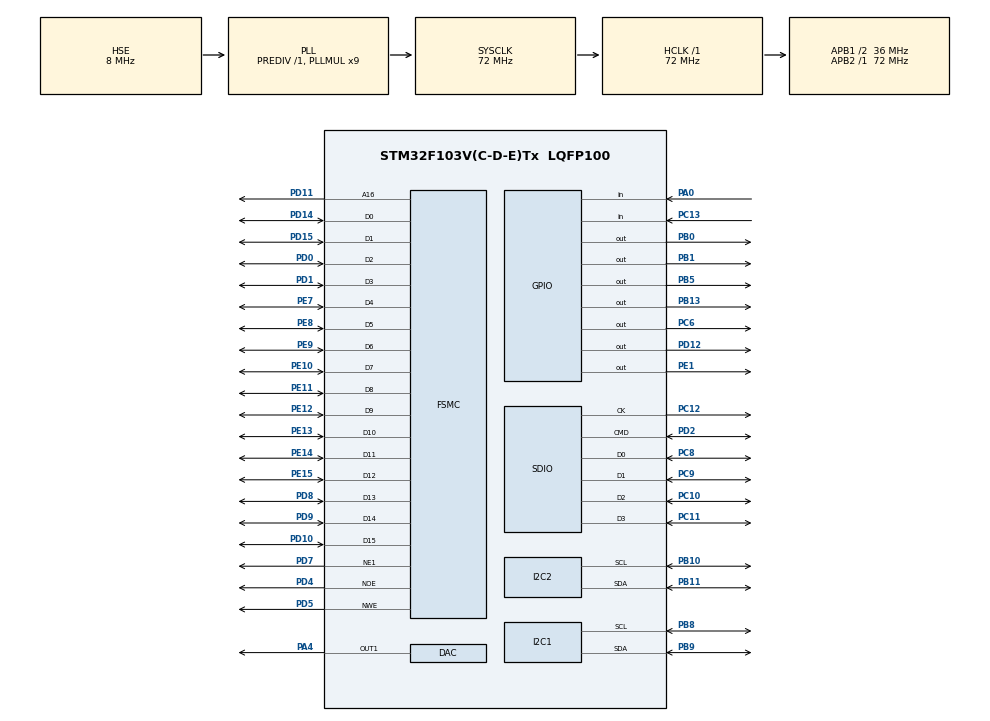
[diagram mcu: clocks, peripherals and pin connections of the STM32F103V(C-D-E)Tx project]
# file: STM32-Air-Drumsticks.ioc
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DAC.DAC_Trigger=DAC_TRIGGER_T6_TRGO
Dma.DAC_CH1.0.Direction=DMA_MEMORY_TO_PERIPH
Dma.DAC_CH1.0.Instance=DMA2_Channel3
Dma.DAC_CH1.0.MemDataAlignment=DMA_MDATAALIGN_HALFWORD
Dma.DAC_CH1.0.MemInc=DMA_MINC_ENABLE
Dma.DAC_CH1.0.Mode=DMA_CIRCULAR
Dma.DAC_CH1.0.PeriphDataAlignment=DMA_PDATAALIGN_HALFWORD
Dma.DAC_CH1.0.PeriphInc=DMA_PINC_DISABLE
Dma.DAC_CH1.0.Priority=DMA_PRIORITY_HIGH
Dma.Request0=DAC_CH1
FATFS._FS_LOCK=10
Mcu.Family=STM32F1
Mcu.Name=STM32F103V(C-D-E)Tx
Mcu.Package=LQFP100
NVIC.DMA2_Channel3_IRQn=true\:0\:0\:false\:false\:true\:false\:true\:true
NVIC.PriorityGroup=NVIC_PRIORITYGROUP_4
NVIC.SDIO_IRQn=true\:0\:0\:false\:false\:true\:true\:true\:true
OSC_IN.Mode=HSE-External-Oscillator
OSC_IN.Signal=RCC_OSC_IN
OSC_OUT.Mode=HSE-External-Oscillator
OSC_OUT.Signal=RCC_OSC_OUT
PA0-WKUP.Signal=GPIO_Input
PA13.Mode=Serial_Wire
PA13.Signal=SYS_JTMS-SWDIO
PA14.Mode=Serial_Wire
PA14.Signal=SYS_JTCK-SWCLK
PA4.Signal=COMP_DAC1_group
PB0.GPIO_Speed=GPIO_SPEED_FREQ_HIGH
PB0.Signal=GPIO_Output
PB1.GPIO_Speed=GPIO_SPEED_FREQ_HIGH
PB1.PinState=GPIO_PIN_SET
PB1.Signal=GPIO_Output
PB10.Mode=I2C
PB10.Signal=I2C2_SCL
PB11.Mode=I2C
PB11.Signal=I2C2_SDA
PB13.GPIO_Speed=GPIO_SPEED_FREQ_HIGH
PB13.PinState=GPIO_PIN_SET
PB13.Signal=GPIO_Output
PB5.GPIO_Speed=GPIO_SPEED_FREQ_HIGH
PB5.Signal=GPIO_Output
PB8.Mode=I2C
PB8.Signal=I2C1_SCL
PB9.Mode=I2C
PB9.Signal=I2C1_SDA
PC10.Mode=SD_4_bits_Wide_bus
PC10.Signal=SDIO_D2
PC11.Mode=SD_4_bits_Wide_bus
PC11.Signal=SDIO_D3
PC12.Mode=SD_4_bits_Wide_bus
PC12.Signal=SDIO_CK
PC13-TAMPER-RTC.Signal=GPIO_Input
PC14-OSC32_IN.Mode=LSE-External-Oscillator
PC14-OSC32_IN.Signal=RCC_OSC32_IN
PC15-OSC32_OUT.Mode=LSE-External-Oscillator
PC15-OSC32_OUT.Signal=RCC_OSC32_OUT
PC6.GPIO_Speed=GPIO_SPEED_FREQ_HIGH
PC6.PinState=GPIO_PIN_SET
PC6.Signal=GPIO_Output
PC8.Mode=SD_4_bits_Wide_bus
PC8.Signal=SDIO_D0
PC9.Mode=SD_4_bits_Wide_bus
PC9.Signal=SDIO_D1
PD0.Mode=16b-d1
PD0.Signal=FSMC_D2
PD1.Mode=16b-d1
PD1.Signal=FSMC_D3
PD10.Mode=16b-d1
PD10.Signal=FSMC_D15
PD11.Mode=A16_1
PD11.Signal=FSMC_A16
PD12.GPIO_Speed=GPIO_SPEED_FREQ_HIGH
PD12.PinState=GPIO_PIN_RESET
PD12.Signal=GPIO_Output
PD14.Mode=16b-d1
PD14.Signal=FSMC_D0
PD15.Mode=16b-d1
PD15.Signal=FSMC_D1
PD2.Mode=SD_4_bits_Wide_bus
PD2.Signal=SDIO_CMD
PD4.Mode=Lcd1
PD4.Signal=FSMC_NOE
PD5.Mode=Lcd1
PD5.Signal=FSMC_NWE
PD7.Mode=NorPsramChipSelect1_1
PD7.Signal=FSMC_NE1
PD8.Mode=16b-d1
PD8.Signal=FSMC_D13
PD9.Mode=16b-d1
PD9.Signal=FSMC_D14
PE1.GPIO_Speed=GPIO_SPEED_FREQ_HIGH
PE1.PinState=GPIO_PIN_RESET
PE1.Signal=GPIO_Output
PE10.Mode=16b-d1
PE10.Signal=FSMC_D7
PE11.Mode=16b-d1
PE11.Signal=FSMC_D8
PE12.Mode=16b-d1
PE12.Signal=FSMC_D9
PE13.Mode=16b-d1
PE13.Signal=FSMC_D10
PE14.Mode=16b-d1
PE14.Signal=FSMC_D11
PE15.Mode=16b-d1
PE15.Signal=FSMC_D12
PE7.Mode=16b-d1
PE7.Signal=FSMC_D4
PE8.Mode=16b-d1
PE8.Signal=FSMC_D5
PE9.Mode=16b-d1
PE9.Signal=FSMC_D6
ProjectManager.HeapSize=0x200
ProjectManager.StackSize=0x400
ProjectManager.TargetToolchain=STM32CubeIDE
RCC.AHBFreq_Value=72000000
RCC.APB1CLKDivider=RCC_HCLK_DIV2
RCC.APB1Freq_Value=36000000
RCC.APB1TimFreq_Value=72000000
RCC.APB2Freq_Value=72000000
RCC.APB2TimFreq_Value=72000000
RCC.HCLKFreq_Value=72000000
RCC.PLLMUL=RCC_PLL_MUL9
RCC.PLLSourceVirtual=RCC_PLLSOURCE_HSE
RCC.SYSCLKFreq_VALUE=72000000
RCC.SYSCLKSource=RCC_SYSCLKSOURCE_PLLCLK
RCC.USBFreq_Value=72000000
SDIO.ClockDiv=20
SH.COMP_DAC1_group.0=DAC_OUT1,DAC_OUT1
TIM6.Period=1632
TIM6.TIM_MasterOutputTrigger=TIM_TRGO_UPDATE
VP_FATFS_VS_SDIO.Mode=SDIO
VP_TIM6_VS_ClockSourceINT.Mode=Enable_Timer
board=custom

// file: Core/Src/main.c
/* USER CODE BEGIN Header */
/**
  ******************************************************************************
  * @file           : main.c
  * @brief          : Main program body
  ******************************************************************************
  * @attention
  *
  * Copyright (c) 2026 STMicroelectronics.
  * All rights reserved.
  *
  * This software is licensed under terms that can be found in the LICENSE file
  * in the root directory of this software component.
  * If no LICENSE file comes with this software, it is provided AS-IS.
  *
  ******************************************************************************
  */
/* USER CODE END Header */
#include "main.h"
#include "fatfs.h"

/* USER CODE BEGIN Includes */
#include "lcd.h"
#include "stdio.h"
#include <stdbool.h>
/* USER CODE END Includes */

/* USER CODE BEGIN PD */
#define AUDIO_BUF_SIZE 4096  // Total size (Ping + Pong)
#define HALF_BUF_SIZE (AUDIO_BUF_SIZE / 2)

#define COOLDOWN_MS 200
/* USER CODE END PD */

 DAC_HandleTypeDef hdac;
DMA_HandleTypeDef hdma_dac_ch1;

I2C_HandleTypeDef hi2c1;
I2C_HandleTypeDef hi2c2;

SD_HandleTypeDef hsd;

TIM_HandleTypeDef htim6;

SRAM_HandleTypeDef hsram1;

/* USER CODE BEGIN PV */

#define MAX_DRUM_CHANNELS 3 // Tom, Snare, Overhead
#define SONG_CHANNEL      3 // Channel index 3 is reserved for the song
#define TOTAL_CHANNELS    4

typedef struct {
    FIL *fileHandle;
    uint8_t active;
    uint8_t tempBuf[4096];
    uint8_t rewind;
} AudioChannel;

AudioChannel channels[TOTAL_CHANNELS];

// Persistent handles for drums
FIL wavTom, wavSnare, wavOverhead;
FIL wavTanggu, wavBangu, wavXiaoluo;
FIL wavEHit, wavESnare, wavEHigh;
// Dynamic handle for the song
FIL wavSong;

uint16_t audioBuffer[AUDIO_BUF_SIZE];
volatile uint8_t transferStatus = 0;

int PA0_previous = 0, PC13_previous = 0;
int PA0_current, PC13_current;
const char* songList[] = {"Mayoiuta", "Midnight", "Haruhikage", "The Young Ones", "Golden","YOM"};
const char* drumList[] = {"Acoustic Kit", "Chinese Kit", "Electronic"};

#define SONG_COUNT (sizeof(songList) / sizeof(songList[0]))
#define DRUM_COUNT (sizeof(drumList) / sizeof(drumList[0]))
#define HOME_COUNT 2

// Page States
typedef enum { PAGE_HOME, PAGE_SONG, PAGE_DRUM } MenuPage;
MenuPage currentPage = PAGE_HOME;

// Independent Indices
uint8_t homeIdx = 0;
uint8_t songIdx = 0;
uint8_t drumIdx = 0;

// Current Selections (Indices)
int activeSongIdx = -1; // -1 means none
int activeDrumIdx = 0;  // Default to first drum

uint8_t updateDisplay = 1;
uint32_t lastButtonTime = 0;

uint32_t last_hit_time = 0;
/* USER CODE END PV */

void SystemClock_Config(void);
static void MX_GPIO_Init(void);
static void MX_FSMC_Init(void);
static void MX_DMA_Init(void);
static void MX_I2C2_Init(void);
static void MX_DAC_Init(void);
static void MX_SDIO_SD_Init(void);
static void MX_TIM6_Init(void);
static void MX_I2C1_Init(void);
/* USER CODE BEGIN PFP */

void PlayDrum(FIL *wavFile, int channelIdx) {
    // Reset file pointer to skip WAV header (44 bytes)
    //f_lseek(wavFile, 44);

    channels[channelIdx].fileHandle = wavFile;
    channels[channelIdx].active = 1;
    channels[channelIdx].rewind = 1;

    // Start DAC if it's not already running
    if (HAL_DAC_GetState(&hdac) != HAL_DAC_STATE_BUSY) {
        HAL_TIM_Base_Start(&htim6);
        HAL_DAC_Start_DMA(&hdac, DAC_CHANNEL_1, (uint32_t*)audioBuffer, AUDIO_BUF_SIZE, DAC_ALIGN_12B_R);
    }
}

void PlaySong(char *filename) {
    // 1. Close the previous song if it was playing
    if (channels[SONG_CHANNEL].active) {
        channels[SONG_CHANNEL].active = 0;
        f_close(&wavSong);
    }

    // 2. Open the new song file
    else if (f_open(&wavSong, filename, FA_READ) == FR_OK) {
        f_lseek(&wavSong, 44); // Skip header
        channels[SONG_CHANNEL].fileHandle = &wavSong;
        channels[SONG_CHANNEL].active = 1;

        // Ensure DAC is running
        if (HAL_DAC_GetState(&hdac) != HAL_DAC_STATE_BUSY) {
            HAL_TIM_Base_Start(&htim6);
            HAL_DAC_Start_DMA(&hdac, DAC_CHANNEL_1, (uint32_t*)audioBuffer, AUDIO_BUF_SIZE, DAC_ALIGN_12B_R);
        }
    }
}
/* --- DMA Callback Functions --- */

void HAL_DAC_ConvHalfCpltCallbackCh1(DAC_HandleTypeDef* hdac) {
    // We are now playing the second half; refill the FIRST half
    FillAudioBuffer(0);
}

void HAL_DAC_ConvCpltCallbackCh1(DAC_HandleTypeDef* hdac) {
    // We are now playing the first half; refill the SECOND half
    FillAudioBuffer(HALF_BUF_SIZE);
    //HAL_GPIO_TogglePin(GPIOB, GPIO_PIN_1); // Visual heartbeat
}
void FillAudioBuffer(uint32_t offset) {
    int32_t mixedSamples[HALF_BUF_SIZE] = {0};
    uint8_t anyChannelActive = 0;

    for (int ch = 0; ch < TOTAL_CHANNELS; ch++) {
        if (channels[ch].active) {
            anyChannelActive = 1;
            UINT br;

            if (channels[ch].rewind) {
                f_lseek(channels[ch].fileHandle, 44);
                channels[ch].rewind = 0;
            }

            // Read directly into the temporary buffer
            if (f_read(channels[ch].fileHandle, channels[ch].tempBuf, HALF_BUF_SIZE * 2, &br) != FR_OK || br == 0) {
                channels[ch].active = 0;
                // DO NOT close files inside an interrupt.
                // Set a flag and close them in the main loop if needed.
            } else {
                int16_t *pSamples = (int16_t*)channels[ch].tempBuf;
                for (int i = 0; i < HALF_BUF_SIZE; i++) {
                    mixedSamples[i] += pSamples[i];
                }
            }
        }
    }

    for (int i = 0; i < HALF_BUF_SIZE; i++) {
        // Clipping
        if (mixedSamples[i] > 32767) mixedSamples[i] = 32767;
        else if (mixedSamples[i] < -32768) mixedSamples[i] = -32768;

        audioBuffer[offset + i] = (uint16_t)((mixedSamples[i] + 32768) >> 4);
    }
}
/* USER CODE END PFP */

/* USER CODE BEGIN 0 */
char str[12];

// The 7-bit address 0x68 shifted left for HAL becomes 0xD0
#define MPU6050_ADDR 0xD0
#define PWR_MGMT_1   0x6B

#define CONFIG       0x1A
#define ACCEL_CONFIG 0x1C

typedef enum { STATE_IDLE, STATE_TRIGGERED, STATE_COOLDOWN } HitState;
HitState currentState = STATE_IDLE;

#define HIT_THRESHOLD_HIGH 12000  // Spike needed to trigger
#define HIT_THRESHOLD_LOW  5000  // Must fall below this to "reset"
#define GYRO_HIT_MIN       1500   // Must be rotating "down" significantly

typedef struct {
    I2C_HandleTypeDef *hi2c;

    uint8_t Rec_Data[14];

    int16_t Accel_X_RAW;
    int16_t Accel_Y_RAW;
    int16_t Accel_Z_RAW;

    int16_t Gyro_X_RAW;
    int16_t Gyro_Y_RAW;
    int16_t Gyro_Z_RAW;

    float gyro_x_offset;
    float filtered_angle;

    uint32_t last_loop_time;
    uint32_t last_hit_time;

    HitState state;
} MPU6050_t;

MPU6050_t mpu1;
MPU6050_t mpu2;

/*void MPU6050_Init(void) {
    uint8_t data;
    // ... your existing "Who Am I" check ...

    // 1. Wake up
    data = 0;
    HAL_I2C_Mem_Write(&hi2c2, MPU6050_ADDR, PWR_MGMT_1, 1, &data, 1, 100);

    // 2. Set Accelerometer Range to +/- 8g (important for high-speed hits)
    // 0x10 sets the FS_SEL bits to 2, which is +/- 8g
    data = 0x10;
    HAL_I2C_Mem_Write(&hi2c2, MPU6050_ADDR, ACCEL_CONFIG, 1, &data, 1, 100);

    // 3. Enable Digital Low Pass Filter (DLPF)
    // Mode 3 (~44Hz bandwidth) is great for air drumming to remove jitter
    data = 0x03;
    HAL_I2C_Mem_Write(&hi2c2, MPU6050_ADDR, CONFIG, 1, &data, 1, 100);
}*/

void MPU6050_Init_Device(MPU6050_t *mpu) {
    uint8_t data;

    // Wake up
    data = 0;
    HAL_I2C_Mem_Write(mpu->hi2c, MPU6050_ADDR, PWR_MGMT_1, 1, &data, 1, 100);

    // Accel ±8g
    data = 0x10;
    HAL_I2C_Mem_Write(mpu->hi2c, MPU6050_ADDR, ACCEL_CONFIG, 1, &data, 1, 100);

    // DLPF
    data = 0x03;
    HAL_I2C_Mem_Write(mpu->hi2c, MPU6050_ADDR, CONFIG, 1, &data, 1, 100);

    mpu->state = STATE_IDLE;
    mpu->filtered_angle = 0;
}

uint8_t Rec_Data[14];
int16_t Accel_X_RAW, Accel_Y_RAW, Accel_Z_RAW;
int16_t Gyro_X_RAW, Gyro_Y_RAW, Gyro_Z_RAW;

/*void MPU6050_Read_Accel(void) {
    HAL_I2C_Mem_Read(&hi2c2, MPU6050_ADDR, 0x3B, 1, Rec_Data, 14, 100);

    // Accelerometer Data
    Accel_X_RAW = (int16_t)(Rec_Data[0] << 8 | Rec_Data[1]);
    Accel_Y_RAW = (int16_t)(Rec_Data[2] << 8 | Rec_Data[3]);
    Accel_Z_RAW = (int16_t)(Rec_Data[4] << 8 | Rec_Data[5]);

    // Gyroscope Data (Starts at index 8 after Temperature bytes at 6-7)
    Gyro_X_RAW  = (int16_t)(Rec_Data[8] << 8 | Rec_Data[9]);
    Gyro_Y_RAW  = (int16_t)(Rec_Data[10] << 8 | Rec_Data[11]);
    Gyro_Z_RAW  = (int16_t)(Rec_Data[12] << 8 | Rec_Data[13]);
}*/

void MPU6050_Read(MPU6050_t *mpu) {
    HAL_I2C_Mem_Read(mpu->hi2c, MPU6050_ADDR, 0x3B, 1, mpu->Rec_Data, 14, 100);

    mpu->Accel_X_RAW = (int16_t)(mpu->Rec_Data[0] << 8 | mpu->Rec_Data[1]);
    mpu->Accel_Y_RAW = (int16_t)(mpu->Rec_Data[2] << 8 | mpu->Rec_Data[3]);
    mpu->Accel_Z_RAW = (int16_t)(mpu->Rec_Data[4] << 8 | mpu->Rec_Data[5]);

    mpu->Gyro_X_RAW  = (int16_t)(mpu->Rec_Data[8] << 8 | mpu->Rec_Data[9]);
    mpu->Gyro_Y_RAW  = (int16_t)(mpu->Rec_Data[10] << 8 | mpu->Rec_Data[11]);
    mpu->Gyro_Z_RAW  = (int16_t)(mpu->Rec_Data[12] << 8 | mpu->Rec_Data[13]);
}

void refresh_LCD() {
	// Labels for Accelerometer
	LCD_DrawString(10, 0,  "Accel X: ", BLACK);
	LCD_DrawString(10, 20, "Accel Y: ", BLACK);
	LCD_DrawString(10, 40, "Accel Z: ", BLACK);

	// Labels for Gyroscope
	LCD_DrawString(10, 70, "Gyro X:  ", BLACK);
	LCD_DrawString(10, 90, "Gyro Y:  ", BLACK);
	LCD_DrawString(10, 110, "Gyro Z:  ", BLACK);

	// Display Accelerometer values
	// Using %-6d ensures the number is left-aligned and padded with spaces up to 6 chars
	sprintf(str, "%-6d", Accel_X_RAW);
	LCD_DrawString(120, 0, str, BLACK);
	sprintf(str, "%-6d", Accel_Y_RAW);
	LCD_DrawString(120, 20, str, BLACK);
	sprintf(str, "%-6d", Accel_Z_RAW);
	LCD_DrawString(120, 40, str, BLACK);

	// Display Gyroscope values
	sprintf(str, "%-6d", Gyro_X_RAW);
	LCD_DrawString(120, 70, str, BLACK);
	sprintf(str, "%-6d", Gyro_Y_RAW);
	LCD_DrawString(120, 90, str, BLACK);
	sprintf(str, "%-6d", Gyro_Z_RAW);
	LCD_DrawString(120, 110, str, BLACK);
}

// Detect hit

float filtered_accel_z = 0;
float alpha = 0.4f; // Smoothing factor (0.1 = very smooth/slow, 0.9 = raw/fast)

float EMA_Filter(int16_t sample, float last_filtered) {
    return (alpha * (float)sample) + ((1.0f - alpha) * last_filtered);
}

/*bool DetectDrumHit_Advanced(int16_t accel_z, int16_t gyro_x) {
    uint32_t current_time = HAL_GetTick();
    bool hit = false;

    // Filter the raw acceleration
//    filtered_accel_z = EMA_Filter(accel_z, filtered_accel_z);
    filtered_accel_z = accel_z;			// Don't use filter, it mixes up the drum hit area (maybe because of low process speed)

    switch (currentState) {
        case STATE_IDLE:
            // Check for acceleration spike AND downward rotation direction
            // We use > 0 for gyro_x assuming positive is the "flick down" rotation
            if (filtered_accel_z > HIT_THRESHOLD_HIGH && gyro_x > GYRO_HIT_MIN) {
                hit = true;
                last_hit_time = current_time;
                currentState = STATE_TRIGGERED;
            }
            break;

        case STATE_TRIGGERED:
            // Once triggered, move to cooldown after a fixed minimum time
            if (current_time - last_hit_time > 40) { // minimum physical hit duration
                currentState = STATE_COOLDOWN;
            }
            break;

        case STATE_COOLDOWN:
            // Wait until the stick "settles" (falls below low threshold)
            // OR the cooldown time expires. This prevents double-triggering.
            if (filtered_accel_z < HIT_THRESHOLD_LOW || (current_time - last_hit_time > COOLDOWN_MS)) {
                currentState = STATE_IDLE;
            }
            break;
    }
    return hit;
}*/

bool DetectHit(MPU6050_t *mpu) {
    uint32_t current_time = HAL_GetTick();
    bool hit = false;

    float accel = mpu->Accel_Z_RAW;
    float gyro  = mpu->Gyro_X_RAW;

    switch (mpu->state) {
        case STATE_IDLE:
            if (accel > HIT_THRESHOLD_HIGH && gyro > GYRO_HIT_MIN) {
                hit = true;
                mpu->last_hit_time = current_time;
                mpu->state = STATE_TRIGGERED;
            }
            break;

        case STATE_TRIGGERED:
            if (current_time - mpu->last_hit_time > 80) {
                mpu->state = STATE_COOLDOWN;
            }
            break;

        case STATE_COOLDOWN:
            if (accel < HIT_THRESHOLD_LOW ||
                (current_time - mpu->last_hit_time > COOLDOWN_MS)) {
                mpu->state = STATE_IDLE;
            }
            break;
    }

    return hit;
}

// Angle Tracking Variables
float filtered_angle = 0.0f;

uint32_t last_loop_time = 0;    // For calculating dt (delta time)

float gyro_x_offset = 0.0f;
float gyro_z_offset = 0.0f;
float strike_angle_1 = 0.0f;
float strike_angle_2 = 0.0f;

/*void Calibrate_Gyro_Offset(void) {
    int32_t x_sum = 0;
    int32_t z_sum = 0;
    LCD_DrawString(10, 140, "Calibrating Gyro...");

    for(int i = 0; i < 10; i++) {
        MPU6050_Read_Accel();
        x_sum += Gyro_X_RAW;
        z_sum += Gyro_Z_RAW;
        HAL_Delay(2); // Good practice to let fresh data arrive
    }

    gyro_x_offset = (float)x_sum / 10.0f;
    gyro_z_offset = (float)z_sum / 10.0f;
    LCD_DrawString(10, 140, "Calibration Done!  ");
}*/

void Calibrate_Gyro(MPU6050_t *mpu) {
    int32_t sum = 0;

    for (int i = 0; i < 10; i++) {
        MPU6050_Read(mpu);
        sum += mpu->Gyro_X_RAW;
        HAL_Delay(2);
    }

    mpu->gyro_x_offset = (float)sum / 10.0f;
    //LCD_DrawString(10, 140, "Calibration Done!  ", BLACK);
}

float right_angle = -35.0f;
float left_angle = 25.0f;

float MPU6050_UpdateAngle(MPU6050_t *mpu, float dt) {

    // 1. Gyro rate (deg/s)
    float gyro_rate = ((float)mpu->Gyro_X_RAW - mpu->gyro_x_offset) / 131.0f;

    // 2. Accelerometer angle (deg)
    float accel_angle = atan2f((float)mpu->Accel_Y_RAW,
                               (float)mpu->Accel_Z_RAW) * 57.2958f;

    // 3. Acc magnitude (for reliability check)
    float accel_mag = sqrtf(
        (float)mpu->Accel_X_RAW * mpu->Accel_X_RAW +
        (float)mpu->Accel_Y_RAW * mpu->Accel_Y_RAW +
        (float)mpu->Accel_Z_RAW * mpu->Accel_Z_RAW
    );

    // 4. Complementary filter
    if (accel_mag > 3000.0f && accel_mag < 5500.0f) {
        mpu->filtered_angle =
            0.95f * (mpu->filtered_angle + gyro_rate * dt)
          + 0.05f * accel_angle;
    } else {
        mpu->filtered_angle += gyro_rate * dt;
    }

    // 5. Clamp angle
    if (mpu->filtered_angle > 90.0f) mpu->filtered_angle = 90.0f;
    if (mpu->filtered_angle < -90.0f) mpu->filtered_angle = -90.0f;

    return mpu->filtered_angle;
}
/* USER CODE END 0 */

int main(void)
{

  /* MCU Configuration--------------------------------------------------------*/

  /* Reset of all peripherals, Initializes the Flash interface and the Systick. */
  HAL_Init();

  /* Configure the system clock */
  SystemClock_Config();

  /* Initialize all configured peripherals */
  MX_GPIO_Init();
  MX_FSMC_Init();
  MX_DMA_Init();
  MX_I2C2_Init();
  MX_DAC_Init();
  MX_SDIO_SD_Init();
  MX_TIM6_Init();
  MX_FATFS_Init();
  MX_I2C1_Init();
  /* USER CODE BEGIN 2 */
  LCD_INIT();

//  MPU6050_Init();
//  MPU6050_Read_Accel();
//
//  HAL_Delay(500);
//
//
//	Calibrate_Gyro_Offset();
  mpu1.hi2c = &hi2c2; // Stick 1
  mpu2.hi2c = &hi2c1; // Stick 2

  MPU6050_Init_Device(&mpu1);
  MPU6050_Init_Device(&mpu2);

  HAL_Delay(500);

  Calibrate_Gyro(&mpu1);
  Calibrate_Gyro(&mpu2);

  mpu1.last_loop_time = HAL_GetTick();
  mpu2.last_loop_time = HAL_GetTick();

	// Initialize our timer
	last_loop_time = HAL_GetTick();

	if (f_mount(&SDFatFS, (TCHAR const*)SDPath, 1) == FR_OK) {
	    // Pre-open drum files so they are ready for instant access
	    f_open(&wavTom, "Tom.wav", FA_READ);
	    f_open(&wavSnare, "Snare.wav", FA_READ);
	    f_open(&wavOverhead, "Overhead.wav", FA_READ);
	    f_open(&wavTanggu, "Tanggu.wav", FA_READ);
	     f_open(&wavBangu, "Bangu.wav", FA_READ);
	     f_open(&wavXiaoluo, "Xiaoluo.wav", FA_READ);
	     f_open(&wavEHit, "EHit.wav", FA_READ);
	     f_open(&wavESnare, "ESnare.wav", FA_READ);
	     f_open(&wavEHigh, "EHigh.wav", FA_READ);

	    PlayDrum(&wavTom, 0);
	}

	HAL_Delay(500);

	HAL_StatusTypeDef status1;
	status1 = HAL_I2C_Mem_Read(&hi2c2, MPU6050_ADDR, 0x3B, 1, Rec_Data, 14, 10);

	if (status1 == HAL_OK) {
		//LCD_DrawString(10, 100, "I2C2 Connected!", BLACK);
	} else {
		//LCD_DrawString(10, 100, "I2C2 Not Connected!", BLACK);
	}

	HAL_StatusTypeDef status2;
	status2 = HAL_I2C_Mem_Read(&hi2c1, MPU6050_ADDR, 0x3B, 1, Rec_Data, 14, 10);

	if (status2 == HAL_OK) {
		//LCD_DrawString(10, 120, "I2C1 Connected!", BLACK);
	} else {
		//LCD_DrawString(10, 120, "I2C1 Not Connected!", BLACK);
	}

  /* USER CODE END 2 */

  /* Infinite loop */
  while (1)
  {

    /* USER CODE BEGIN 3 */
	  PA0_current = HAL_GPIO_ReadPin(GPIOA, GPIO_PIN_0);
	  	  	      PC13_current = HAL_GPIO_ReadPin(GPIOC, GPIO_PIN_13);

	  	  	      // --- PA0: Scroll Down (Page Specific) ---

	  	  	      if (PA0_previous == 0 && PA0_current == 1) {
	  	  	          updateDisplay = 1;
	  	  	          switch(currentPage) {
	  	  	              case PAGE_HOME: homeIdx = (homeIdx + 1) % HOME_COUNT; break;
	  	  	              case PAGE_SONG: songIdx = (songIdx + 1) % SONG_COUNT; break;
	  	  	              case PAGE_DRUM: drumIdx = (drumIdx + 1) % DRUM_COUNT; break;
	  	  	          }
	  	  	          lastButtonTime = HAL_GetTick();
	  	  	      }

	  	  	      // --- PC13: Confirm (Page Specific) ---
	  	  	      if (PC13_previous == 1 && PC13_current == 0) {
	  	  	          updateDisplay = 1;
	  	  	          if (currentPage == PAGE_HOME) {
	  	  	              currentPage = (homeIdx == 0) ? PAGE_SONG : PAGE_DRUM;
	  	  	          }
	  	  	          else if (currentPage == PAGE_SONG) {
	  	  	              activeSongIdx = songIdx;
	  	  	              switch (activeSongIdx){
	  	  	              	  case 0: PlaySong("Mayoiuta.wav");
	  	  	              	  	  	  break;
	  	  	              	  case 1: PlaySong("Midnight.wav");
	  	              	  	  	  	  break;
	  	  	              	  case 2: PlaySong("Spring.wav");
	  	              	  	  	  	  break;
	  	  	              	  case 3:PlaySong("Young.wav");
	  	              	  	  	  	  break;
	  	  	              	  case 4:PlaySong("Golden.wav");
	  	  	              	  	      break;
	  	  	              	  case 5:PlaySong("YOM.wav");
	  	  	              	  	      break;

	  	  	              }

	  	  	              currentPage = PAGE_HOME;
	  	  	          }
	  	  	          else if (currentPage == PAGE_DRUM) {
	  	  	              activeDrumIdx = drumIdx;
	  	  	          currentPage = PAGE_HOME;
	  	  	              }

	  	  	          }
	  	  	          lastButtonTime = HAL_GetTick();

	  	  	      PA0_previous = PA0_current;
	  	  	      PC13_previous = PC13_current;

	  	  	      // --- 2. Render Screen ---
	  	  	      if (updateDisplay) {
	  	  	          LCD_Clear(0, 0, 240, 250, 0xFFFF);
	  	  	          if (currentPage == PAGE_HOME) {
	  	  	              LCD_DrawString(70, 20, "MAIN MENU", 0x0000);
	  	  	              // Show Status
	  	  	              char buf[30];
	  	  	              sprintf(buf, "Current: %s", (activeSongIdx == -1) ? "None" : songList[activeSongIdx]);
	  	  	              LCD_DrawString(20, 60, buf, 0x07E0); // Green color for status

	  	  	              sprintf(buf, "Drum: %s", drumList[activeDrumIdx]);
	  	  	              LCD_DrawString(20, 80, buf, 0x07E0);

	  	  	              // Menu Options
	  	  	              LCD_DrawString(30, 140, "[ SONG SELECT ]", (homeIdx == 0) ? RED : BLUE);
	  	  	              LCD_DrawString(30, 170, "[ DRUM SELECT ]", (homeIdx == 1) ? RED : BLUE);
	  	  	          }
	  	  	          else if (currentPage == PAGE_SONG) {
	  	  	              LCD_DrawString(70, 20, "SELECT SONG", 0x0000);
	  	  	              for(int i = 0; i < SONG_COUNT; i++) {
	  	  	                  LCD_DrawString(30, 60 + (i * 30), songList[i], (songIdx == i) ? RED : BLUE);

	  	  	              }
	  	  	          }
	  	  	          else if (currentPage == PAGE_DRUM) {
	  	  	              LCD_DrawString(70, 20, "SELECT DRUM", 0x0000);
	  	  	              for(int i = 0; i < DRUM_COUNT; i++) {
	  	  	                  LCD_DrawString(30, 60 + (i * 30), drumList[i], (drumIdx == i) ? RED : BLUE);

	  	  	              }
	  	  	          }
	  	  	          updateDisplay = 0;
	  	  	      }
	  status1 = HAL_I2C_Mem_Read(&hi2c2, MPU6050_ADDR, 0x3B, 1, Rec_Data, 14, 10);
	  if (status1 != HAL_OK) {
	      // I2C failed! Reset the peripheral to "unstick" it
	      HAL_I2C_DeInit(&hi2c2);
	      HAL_I2C_Init(&hi2c2);

	      // Optional: Re-run MPU6050_Init() if the sensor itself reset
	      continue; // Skip this loop iteration
	  }

	  status2 = HAL_I2C_Mem_Read(&hi2c1, MPU6050_ADDR, 0x3B, 1, Rec_Data, 14, 10);
	  if (status2 != HAL_OK) {
		  // I2C failed! Reset the peripheral to "unstick" it
		  HAL_I2C_DeInit(&hi2c1);
		  HAL_I2C_Init(&hi2c1);

		  // Optional: Re-run MPU6050_Init() if the sensor itself reset
		  continue; // Skip this loop iteration
	  }

	  // 1. Calculate time elapsed since last loop (dt)
//		uint32_t current_time = HAL_GetTick();
//		float dt = (current_time - last_loop_time) / 1000.0f; // Convert ms to seconds
//		last_loop_time = current_time;

		// 2. Read fresh data
//		MPU6050_Read_Accel();
//
//		/* 1. Gyro rate */
//		float gyro_rate =
//		((float)Gyro_X_RAW - gyro_x_offset)/131.0f;
//
//		/* 2. Accelerometer angle */
//		float accel_angle =
//		atan2f((float)Accel_Y_RAW,
//		       (float)Accel_Z_RAW)
//		       *57.2958f;
//		float accel_mag = sqrtf((float)Accel_X_RAW * Accel_X_RAW
//				+ (float)Accel_Y_RAW * Accel_Y_RAW
//				+ Accel_Z_RAW * Accel_Z_RAW);

		// Only trust accelerometer when it looks like gravity, not impact.
//		if (accel_mag > 3000.0f && accel_mag < 5500.0f) {
//			filtered_angle = (0.98f * (filtered_angle + gyro_rate * dt) + 0.02f * accel_angle);
//		} else {
//			filtered_angle = filtered_angle + gyro_rate * dt;
//		}
//
//		if (filtered_angle > 90.0f) filtered_angle = 90.0f;
//		if (filtered_angle < -90.0f) filtered_angle = -90.0f;

	  uint32_t now = HAL_GetTick();
	  float dt1 = (now - mpu1.last_loop_time) / 1000.0f;
	  mpu1.last_loop_time = now;
	  float dt2 = (now - mpu2.last_loop_time) / 1000.0f;
	  mpu2.last_loop_time = now;

		MPU6050_Read(&mpu1);

		MPU6050_Read(&mpu2);

		strike_angle_1 = MPU6050_UpdateAngle(&mpu1, dt1);
		strike_angle_2 = MPU6050_UpdateAngle(&mpu2, dt2);

		if (DetectHit(&mpu1)) {
			last_hit_time = HAL_GetTick();
			if(strike_angle_1 < right_angle)
			{
				HAL_GPIO_WritePin(GPIOB, GPIO_PIN_0, GPIO_PIN_RESET);	// Green
								HAL_GPIO_WritePin(GPIOC, GPIO_PIN_6, GPIO_PIN_SET);
								switch(activeDrumIdx){
												case 0:	PlayDrum(&wavSnare, 1);
														break;
												case 1:PlayDrum(&wavBangu, 1);
														break;
												case 2: PlayDrum(&wavESnare, 1);
														break;

												}
//				HAL_GPIO_WritePin(GPIOB, GPIO_PIN_5, GPIO_PIN_RESET);	// Red
//				HAL_GPIO_WritePin(GPIOC, GPIO_PIN_6, GPIO_PIN_SET);
//				switch(activeDrumIdx){
//				case 0:	PlayDrum(&wavOverhead, 2);
//						break;
//				case 1:PlayDrum(&wavXiaoluo, 2);
//						break;
//				case 2: PlayDrum(&wavEHigh, 2);
//						break;
//				}

			}

			else if(strike_angle_1 > left_angle)
			{
				HAL_GPIO_WritePin(GPIOB, GPIO_PIN_5, GPIO_PIN_RESET);	// Red
								HAL_GPIO_WritePin(GPIOC, GPIO_PIN_6, GPIO_PIN_SET);
								switch(activeDrumIdx){
								case 0:	PlayDrum(&wavOverhead, 2);
										break;
								case 1:PlayDrum(&wavXiaoluo, 2);
										break;
								case 2: PlayDrum(&wavEHigh, 2);
										break;
								}
//				HAL_GPIO_WritePin(GPIOB, GPIO_PIN_0, GPIO_PIN_RESET);	// Green
//				HAL_GPIO_WritePin(GPIOC, GPIO_PIN_6, GPIO_PIN_SET);
//				switch(activeDrumIdx){
//								case 0:	PlayDrum(&wavSnare, 1);
//										break;
//								case 1:PlayDrum(&wavBangu, 1);
//										break;
//								case 2: PlayDrum(&wavESnare, 1);
//										break;
//
//								}

			}

			else
			{
			   HAL_GPIO_WritePin(GPIOB, GPIO_PIN_1, GPIO_PIN_RESET);	// Blue
			   HAL_GPIO_WritePin(GPIOC, GPIO_PIN_6, GPIO_PIN_SET);
			   switch(activeDrumIdx){
			   								case 0:	PlayDrum(&wavTom, 0);
			   										break;
			   								case 1:PlayDrum(&wavTanggu, 0);
			   										break;
			   								case 2: PlayDrum(&wavEHit, 0);
			   										break;
			   								}

			}
		}
		if (DetectHit(&mpu2)) {
			last_hit_time = HAL_GetTick();
			if(strike_angle_2 < right_angle)
			{
			   HAL_GPIO_WritePin(GPIOB, GPIO_PIN_5, GPIO_PIN_RESET);	// Red
			   HAL_GPIO_WritePin(GPIOB, GPIO_PIN_13, GPIO_PIN_SET);
			   switch(activeDrumIdx){
			   				case 0:	PlayDrum(&wavOverhead, 2);
			   						break;
			   				case 1:PlayDrum(&wavXiaoluo, 2);
			   						break;
			   				case 2: PlayDrum(&wavEHigh, 2);
			   						break;
			   				}

			}

			else if(strike_angle_2 > left_angle)
			{
			   HAL_GPIO_WritePin(GPIOB, GPIO_PIN_0, GPIO_PIN_RESET);	// Green
			   HAL_GPIO_WritePin(GPIOB, GPIO_PIN_13, GPIO_PIN_SET);
			   switch(activeDrumIdx){
			   								case 0:	PlayDrum(&wavSnare, 1);
			   										break;
			   								case 1:PlayDrum(&wavBangu, 1);
			   										break;
			   								case 2: PlayDrum(&wavESnare, 1);
			   										break;
			   								}

			}

			else
			{
			   HAL_GPIO_WritePin(GPIOB, GPIO_PIN_1, GPIO_PIN_RESET);	// Blue
			   HAL_GPIO_WritePin(GPIOB, GPIO_PIN_13, GPIO_PIN_SET);
			   switch(activeDrumIdx){
			   			   								case 0:	PlayDrum(&wavTom, 0);
			   			   										break;
			   			   								case 1:PlayDrum(&wavTanggu, 0);
			   			   										break;
			   			   							case 2: PlayDrum(&wavEHit, 0);
			   			   										break;
			   			   								}

			}
		}

		// 5. Non-blocking LED turn-off
		HAL_Delay(10);
		if (HAL_GetTick() - last_hit_time > 50) {
			HAL_GPIO_WritePin(GPIOB, GPIO_PIN_5, GPIO_PIN_SET);
			HAL_GPIO_WritePin(GPIOB, GPIO_PIN_0, GPIO_PIN_SET);
			HAL_GPIO_WritePin(GPIOB, GPIO_PIN_1, GPIO_PIN_SET);
		}
		if (HAL_GetTick() - last_hit_time > 200) {
					HAL_GPIO_WritePin(GPIOC, GPIO_PIN_6, GPIO_PIN_RESET);
					HAL_GPIO_WritePin(GPIOB, GPIO_PIN_13, GPIO_PIN_RESET);
				}

  }
  /* USER CODE END 3 */
}

void SystemClock_Config(void)
{
  RCC_OscInitTypeDef RCC_OscInitStruct = {0};
  RCC_ClkInitTypeDef RCC_ClkInitStruct = {0};

  /** Initializes the RCC Oscillators according to the specified parameters
  * in the RCC_OscInitTypeDef structure.
  */
  RCC_OscInitStruct.OscillatorType = RCC_OSCILLATORTYPE_HSE;
  RCC_OscInitStruct.HSEState = RCC_HSE_ON;
  RCC_OscInitStruct.HSEPredivValue = RCC_HSE_PREDIV_DIV1;
  RCC_OscInitStruct.HSIState = RCC_HSI_ON;
  RCC_OscInitStruct.PLL.PLLState = RCC_PLL_ON;
  RCC_OscInitStruct.PLL.PLLSource = RCC_PLLSOURCE_HSE;
  RCC_OscInitStruct.PLL.PLLMUL = RCC_PLL_MUL9;
  if (HAL_RCC_OscConfig(&RCC_OscInitStruct) != HAL_OK)
  {
    Error_Handler();
  }

  /** Initializes the CPU, AHB and APB buses clocks
  */
  RCC_ClkInitStruct.ClockType = RCC_CLOCKTYPE_HCLK|RCC_CLOCKTYPE_SYSCLK
                              |RCC_CLOCKTYPE_PCLK1|RCC_CLOCKTYPE_PCLK2;
  RCC_ClkInitStruct.SYSCLKSource = RCC_SYSCLKSOURCE_PLLCLK;
  RCC_ClkInitStruct.AHBCLKDivider = RCC_SYSCLK_DIV1;
  RCC_ClkInitStruct.APB1CLKDivider = RCC_HCLK_DIV2;
  RCC_ClkInitStruct.APB2CLKDivider = RCC_HCLK_DIV1;

  if (HAL_RCC_ClockConfig(&RCC_ClkInitStruct, FLASH_LATENCY_2) != HAL_OK)
  {
    Error_Handler();
  }
}

static void MX_DAC_Init(void)
{

  DAC_ChannelConfTypeDef sConfig = {0};

  /** DAC Initialization
  */
  hdac.Instance = DAC;
  if (HAL_DAC_Init(&hdac) != HAL_OK)
  {
    Error_Handler();
  }

  /** DAC channel OUT1 config
  */
  sConfig.DAC_Trigger = DAC_TRIGGER_T6_TRGO;
  sConfig.DAC_OutputBuffer = DAC_OUTPUTBUFFER_ENABLE;
  if (HAL_DAC_ConfigChannel(&hdac, &sConfig, DAC_CHANNEL_1) != HAL_OK)
  {
    Error_Handler();
  }

}

static void MX_I2C1_Init(void)
{

  hi2c1.Instance = I2C1;
  hi2c1.Init.ClockSpeed = 100000;
  hi2c1.Init.DutyCycle = I2C_DUTYCYCLE_2;
  hi2c1.Init.OwnAddress1 = 0;
  hi2c1.Init.AddressingMode = I2C_ADDRESSINGMODE_7BIT;
  hi2c1.Init.DualAddressMode = I2C_DUALADDRESS_DISABLE;
  hi2c1.Init.OwnAddress2 = 0;
  hi2c1.Init.GeneralCallMode = I2C_GENERALCALL_DISABLE;
  hi2c1.Init.NoStretchMode = I2C_NOSTRETCH_DISABLE;
  if (HAL_I2C_Init(&hi2c1) != HAL_OK)
  {
    Error_Handler();
  }

}

static void MX_I2C2_Init(void)
{

  hi2c2.Instance = I2C2;
  hi2c2.Init.ClockSpeed = 100000;
  hi2c2.Init.DutyCycle = I2C_DUTYCYCLE_2;
  hi2c2.Init.OwnAddress1 = 0;
  hi2c2.Init.AddressingMode = I2C_ADDRESSINGMODE_7BIT;
  hi2c2.Init.DualAddressMode = I2C_DUALADDRESS_DISABLE;
  hi2c2.Init.OwnAddress2 = 0;
  hi2c2.Init.GeneralCallMode = I2C_GENERALCALL_DISABLE;
  hi2c2.Init.NoStretchMode = I2C_NOSTRETCH_DISABLE;
  if (HAL_I2C_Init(&hi2c2) != HAL_OK)
  {
    Error_Handler();
  }

}

static void MX_SDIO_SD_Init(void)
{

  hsd.Instance = SDIO;
  hsd.Init.ClockEdge = SDIO_CLOCK_EDGE_RISING;
  hsd.Init.ClockBypass = SDIO_CLOCK_BYPASS_DISABLE;
  hsd.Init.ClockPowerSave = SDIO_CLOCK_POWER_SAVE_DISABLE;
  hsd.Init.BusWide = SDIO_BUS_WIDE_1B;
  hsd.Init.HardwareFlowControl = SDIO_HARDWARE_FLOW_CONTROL_DISABLE;
  hsd.Init.ClockDiv = 20;

}

static void MX_TIM6_Init(void)
{

  TIM_MasterConfigTypeDef sMasterConfig = {0};

  htim6.Instance = TIM6;
  htim6.Init.Prescaler = 0;
  htim6.Init.CounterMode = TIM_COUNTERMODE_UP;
  htim6.Init.Period = 1632;
  htim6.Init.AutoReloadPreload = TIM_AUTORELOAD_PRELOAD_DISABLE;
  if (HAL_TIM_Base_Init(&htim6) != HAL_OK)
  {
    Error_Handler();
  }
  sMasterConfig.MasterOutputTrigger = TIM_TRGO_UPDATE;
  sMasterConfig.MasterSlaveMode = TIM_MASTERSLAVEMODE_DISABLE;
  if (HAL_TIMEx_MasterConfigSynchronization(&htim6, &sMasterConfig) != HAL_OK)
  {
    Error_Handler();
  }

}

static void MX_DMA_Init(void)
{

  /* DMA controller clock enable */
  __HAL_RCC_DMA2_CLK_ENABLE();

  /* DMA interrupt init */
  /* DMA2_Channel3_IRQn interrupt configuration */
  HAL_NVIC_SetPriority(DMA2_Channel3_IRQn, 0, 0);
  HAL_NVIC_EnableIRQ(DMA2_Channel3_IRQn);

}

static void MX_GPIO_Init(void)
{
  GPIO_InitTypeDef GPIO_InitStruct = {0};

  /* GPIO Ports Clock Enable */
  __HAL_RCC_GPIOC_CLK_ENABLE();
  __HAL_RCC_GPIOA_CLK_ENABLE();
  __HAL_RCC_GPIOB_CLK_ENABLE();
  __HAL_RCC_GPIOE_CLK_ENABLE();
  __HAL_RCC_GPIOD_CLK_ENABLE();

  /*Configure GPIO pin Output Level */
  HAL_GPIO_WritePin(GPIOB, GPIO_PIN_0|GPIO_PIN_5, GPIO_PIN_RESET);

  /*Configure GPIO pin Output Level */
  HAL_GPIO_WritePin(GPIOB, GPIO_PIN_1|GPIO_PIN_13, GPIO_PIN_SET);

  /*Configure GPIO pin Output Level */
  HAL_GPIO_WritePin(GPIOD, GPIO_PIN_12, GPIO_PIN_RESET);

  /*Configure GPIO pin Output Level */
  HAL_GPIO_WritePin(GPIOC, GPIO_PIN_6, GPIO_PIN_SET);

  /*Configure GPIO pin Output Level */
  HAL_GPIO_WritePin(GPIOE, GPIO_PIN_1, GPIO_PIN_RESET);

  /*Configure GPIO pin : PC13 */
  GPIO_InitStruct.Pin = GPIO_PIN_13;
  GPIO_InitStruct.Mode = GPIO_MODE_INPUT;
  GPIO_InitStruct.Pull = GPIO_NOPULL;
  HAL_GPIO_Init(GPIOC, &GPIO_InitStruct);

  /*Configure GPIO pin : PA0 */
  GPIO_InitStruct.Pin = GPIO_PIN_0;
  GPIO_InitStruct.Mode = GPIO_MODE_INPUT;
  GPIO_InitStruct.Pull = GPIO_NOPULL;
  HAL_GPIO_Init(GPIOA, &GPIO_InitStruct);

  /*Configure GPIO pins : PB0 PB1 PB13 PB5 */
  GPIO_InitStruct.Pin = GPIO_PIN_0|GPIO_PIN_1|GPIO_PIN_13|GPIO_PIN_5;
  GPIO_InitStruct.Mode = GPIO_MODE_OUTPUT_PP;
  GPIO_InitStruct.Pull = GPIO_NOPULL;
  GPIO_InitStruct.Speed = GPIO_SPEED_FREQ_HIGH;
  HAL_GPIO_Init(GPIOB, &GPIO_InitStruct);

  /*Configure GPIO pin : PD12 */
  GPIO_InitStruct.Pin = GPIO_PIN_12;
  GPIO_InitStruct.Mode = GPIO_MODE_OUTPUT_PP;
  GPIO_InitStruct.Pull = GPIO_NOPULL;
  GPIO_InitStruct.Speed = GPIO_SPEED_FREQ_HIGH;
  HAL_GPIO_Init(GPIOD, &GPIO_InitStruct);

  /*Configure GPIO pin : PC6 */
  GPIO_InitStruct.Pin = GPIO_PIN_6;
  GPIO_InitStruct.Mode = GPIO_MODE_OUTPUT_PP;
  GPIO_InitStruct.Pull = GPIO_NOPULL;
  GPIO_InitStruct.Speed = GPIO_SPEED_FREQ_HIGH;
  HAL_GPIO_Init(GPIOC, &GPIO_InitStruct);

  /*Configure GPIO pin : PE1 */
  GPIO_InitStruct.Pin = GPIO_PIN_1;
  GPIO_InitStruct.Mode = GPIO_MODE_OUTPUT_PP;
  GPIO_InitStruct.Pull = GPIO_NOPULL;
  GPIO_InitStruct.Speed = GPIO_SPEED_FREQ_HIGH;
  HAL_GPIO_Init(GPIOE, &GPIO_InitStruct);

}

/* FSMC initialization function */
static void MX_FSMC_Init(void)
{

  FSMC_NORSRAM_TimingTypeDef Timing = {0};

  /** Perform the SRAM1 memory initialization sequence
  */
  hsram1.Instance = FSMC_NORSRAM_DEVICE;
  hsram1.Extended = FSMC_NORSRAM_EXTENDED_DEVICE;
  /* hsram1.Init */
  hsram1.Init.NSBank = FSMC_NORSRAM_BANK1;
  hsram1.Init.DataAddressMux = FSMC_DATA_ADDRESS_MUX_DISABLE;
  hsram1.Init.MemoryType = FSMC_MEMORY_TYPE_SRAM;
  hsram1.Init.MemoryDataWidth = FSMC_NORSRAM_MEM_BUS_WIDTH_16;
  hsram1.Init.BurstAccessMode = FSMC_BURST_ACCESS_MODE_DISABLE;
  hsram1.Init.WaitSignalPolarity = FSMC_WAIT_SIGNAL_POLARITY_LOW;
  hsram1.Init.WrapMode = FSMC_WRAP_MODE_DISABLE;
  hsram1.Init.WaitSignalActive = FSMC_WAIT_TIMING_BEFORE_WS;
  hsram1.Init.WriteOperation = FSMC_WRITE_OPERATION_ENABLE;
  hsram1.Init.WaitSignal = FSMC_WAIT_SIGNAL_DISABLE;
  hsram1.Init.ExtendedMode = FSMC_EXTENDED_MODE_DISABLE;
  hsram1.Init.AsynchronousWait = FSMC_ASYNCHRONOUS_WAIT_DISABLE;
  hsram1.Init.WriteBurst = FSMC_WRITE_BURST_DISABLE;
  /* Timing */
  Timing.AddressSetupTime = 15;
  Timing.AddressHoldTime = 15;
  Timing.DataSetupTime = 255;
  Timing.BusTurnAroundDuration = 15;
  Timing.CLKDivision = 16;
  Timing.DataLatency = 17;
  Timing.AccessMode = FSMC_ACCESS_MODE_A;
  /* ExtTiming */

  if (HAL_SRAM_Init(&hsram1, &Timing, NULL) != HAL_OK)
  {
    Error_Handler( );
  }

  /** Disconnect NADV
  */

  __HAL_AFIO_FSMCNADV_DISCONNECTED();

}

void Error_Handler(void)
{
  __disable_irq();
  while (1)
  {
  }
}
